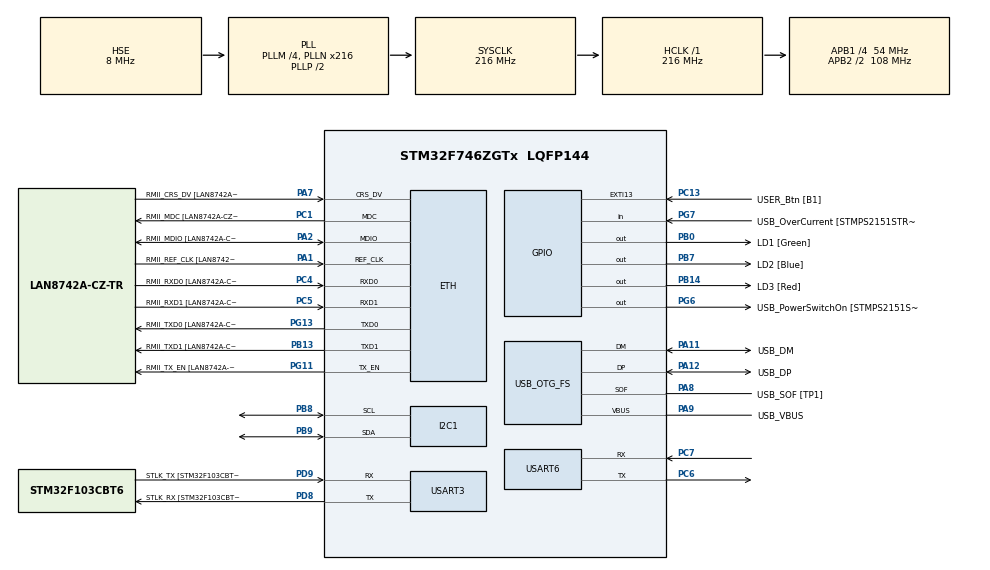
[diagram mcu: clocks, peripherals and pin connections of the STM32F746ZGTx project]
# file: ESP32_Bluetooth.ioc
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ETH.MediaInterface=HAL_ETH_RMII_MODE
ETH.PHY_Name=LAN8742A_PHY_ADDRESS
ETH.PHY_Value=0
ETH.PhyAddress=0
I2C1.Timing=0x20404768
Mcu.Family=STM32F7
Mcu.Name=STM32F746ZGTx
Mcu.Package=LQFP144
NVIC.PriorityGroup=NVIC_PRIORITYGROUP_4
NVIC.USART6_IRQn=true\:0\:0\:false\:false\:true\:true\:true\:true
PA1.GPIO_Label=RMII_REF_CLK [LAN8742A-CZ-TR_REFCLK0]
PA1.Mode=RMII
PA1.Signal=ETH_REF_CLK
PA10.GPIO_Label=USB_ID
PA10.Signal=USB_OTG_FS_ID
PA11.GPIO_Label=USB_DM
PA11.Mode=Device_Only
PA11.Signal=USB_OTG_FS_DM
PA12.GPIO_Label=USB_DP
PA12.Mode=Device_Only
PA12.Signal=USB_OTG_FS_DP
PA13.GPIO_Label=TMS
PA13.Mode=Serial_Wire
PA13.Signal=SYS_JTMS-SWDIO
PA14.GPIO_Label=TCK
PA14.Mode=Serial_Wire
PA14.Signal=SYS_JTCK-SWCLK
PA2.GPIO_Label=RMII_MDIO [LAN8742A-CZ-TR_MDIO]
PA2.Mode=RMII
PA2.Signal=ETH_MDIO
PA7.GPIO_Label=RMII_CRS_DV [LAN8742A-CZ-TR_CRS_DV]
PA7.Mode=RMII
PA7.Signal=ETH_CRS_DV
PA8.GPIO_Label=USB_SOF [TP1]
PA8.Mode=Activate_SOF_FS
PA8.Signal=USB_OTG_FS_SOF
PA9.GPIO_Label=USB_VBUS
PA9.Mode=Activate_VBUS
PA9.Signal=USB_OTG_FS_VBUS
PB0.GPIO_Label=LD1 [Green]
PB0.Signal=GPIO_Output
PB13.GPIO_Label=RMII_TXD1 [LAN8742A-CZ-TR_TXD1]
PB13.Mode=RMII
PB13.Signal=ETH_TXD1
PB14.GPIO_Label=LD3 [Red]
PB14.Signal=GPIO_Output
PB3.GPIO_Label=SW0
PB3.Signal=SYS_JTDO-SWO
PB7.GPIO_Label=LD2 [Blue]
PB7.Signal=GPIO_Output
PB8.Mode=I2C
PB8.Signal=I2C1_SCL
PB9.Mode=I2C
PB9.Signal=I2C1_SDA
PC1.GPIO_Label=RMII_MDC [LAN8742A-CZ-TR_MDC]
PC1.Mode=RMII
PC1.Signal=ETH_MDC
PC13.GPIO_Label=USER_Btn [B1]
PC13.Signal=GPXTI13
PC14/OSC32_IN.Mode=LSE-External-Oscillator
PC14/OSC32_IN.Signal=RCC_OSC32_IN
PC15/OSC32_OUT.Mode=LSE-External-Oscillator
PC15/OSC32_OUT.Signal=RCC_OSC32_OUT
PC4.GPIO_Label=RMII_RXD0 [LAN8742A-CZ-TR_RXD0]
PC4.Mode=RMII
PC4.Signal=ETH_RXD0
PC5.GPIO_Label=RMII_RXD1 [LAN8742A-CZ-TR_RXD1]
PC5.Mode=RMII
PC5.Signal=ETH_RXD1
PC6.Mode=Asynchronous
PC6.Signal=USART6_TX
PC7.Mode=Asynchronous
PC7.Signal=USART6_RX
PD8.GPIO_Label=STLK_RX [STM32F103CBT6_PA3]
PD8.GPIO_PuPd=GPIO_PULLUP
PD8.Mode=Asynchronous
PD8.Signal=USART3_TX
PD9.GPIO_Label=STLK_TX [STM32F103CBT6_PA2]
PD9.GPIO_PuPd=GPIO_PULLUP
PD9.Mode=Asynchronous
PD9.Signal=USART3_RX
PG11.GPIO_Label=RMII_TX_EN [LAN8742A-CZ-TR_TXEN]
PG11.Mode=RMII
PG11.Signal=ETH_TX_EN
PG13.GPIO_Label=RMII_TXD0 [LAN8742A-CZ-TR_TXD0]
PG13.Mode=RMII
PG13.Signal=ETH_TXD0
PG6.GPIO_Label=USB_PowerSwitchOn [STMPS2151STR_EN]
PG6.Signal=GPIO_Output
PG7.GPIO_Label=USB_OverCurrent [STMPS2151STR_FAULT]
PG7.Signal=GPIO_Input
PH0/OSC_IN.GPIO_Label=MCO [STM32F103CBT6_PA8]
PH0/OSC_IN.Mode=HSE-External-Oscillator
PH0/OSC_IN.Signal=RCC_OSC_IN
PH1/OSC_OUT.Mode=HSE-External-Oscillator
PH1/OSC_OUT.Signal=RCC_OSC_OUT
ProjectManager.HeapSize=0x200
ProjectManager.StackSize=0x400
ProjectManager.TargetToolchain=STM32CubeIDE
RCC.48MHZClocksFreq_Value=24000000
RCC.AHBFreq_Value=216000000
RCC.APB1CLKDivider=RCC_HCLK_DIV4
RCC.APB1Freq_Value=54000000
RCC.APB1TimFreq_Value=108000000
RCC.APB2CLKDivider=RCC_HCLK_DIV2
RCC.APB2Freq_Value=108000000
RCC.APB2TimFreq_Value=216000000
RCC.CortexFreq_Value=216000000
RCC.HCLKFreq_Value=216000000
RCC.HSE_VALUE=8000000
RCC.HSI_VALUE=16000000
RCC.PLLM=4
RCC.PLLMUL=RCC_PLL_MUL9
RCC.PLLN=216
RCC.PLLQ=9
RCC.PRESCALERUSB=RCC_USBCLKSOURCE_PLL_DIV1_5
RCC.SYSCLKFreq_VALUE=216000000
RCC.SYSCLKSource=RCC_SYSCLKSOURCE_PLLCLK
RCC.SYSCLKSourceVirtual=RCC_SYSCLKSOURCE_PLLCLK
RCC.USBFreq_Value=48000000
RCC.VCOOutputFreq_Value=432000000
USART3.VirtualMode-Asynchronous=VM_ASYNC
USART6.VirtualMode-Asynchronous=VM_ASYNC
USB_OTG_FS.VirtualMode=Device_Only
board=NUCLEO-F746ZG

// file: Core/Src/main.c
/* USER CODE BEGIN Header */
/**
  ******************************************************************************
  * @file           : main.c
  * @brief          : Main program body
  ******************************************************************************
  * @attention
  *
  * Copyright (c) 2025 STMicroelectronics.
  * All rights reserved.
  *
  * This software is licensed under terms that can be found in the LICENSE file
  * in the root directory of this software component.
  * If no LICENSE file comes with this software, it is provided AS-IS.
  *
  ******************************************************************************
  */
/* USER CODE END Header */
#include "main.h"
#include "string.h"

/* USER CODE BEGIN Includes */
#include <stdio.h>
/* USER CODE END Includes */

/* USER CODE BEGIN PD */
#define ESP_UART huart6         /* STM32 ⟷ ESP32 link  */
#define PC_UART  huart3         /* STM32 ⟷ Hercules    */
//#define BRIDGE_TX_TO_ESP32                       /* also forward PC→ESP */
/* USER CODE END PD */

#if defined ( __ICCARM__ ) /*!< IAR Compiler */
#pragma location=0x2004c000
ETH_DMADescTypeDef  DMARxDscrTab[ETH_RX_DESC_CNT]; /* Ethernet Rx DMA Descriptors */
#pragma location=0x2004c0a0
ETH_DMADescTypeDef  DMATxDscrTab[ETH_TX_DESC_CNT]; /* Ethernet Tx DMA Descriptors */

#elif defined ( __CC_ARM )  /* MDK ARM Compiler */

__attribute__((at(0x2004c000))) ETH_DMADescTypeDef  DMARxDscrTab[ETH_RX_DESC_CNT]; /* Ethernet Rx DMA Descriptors */
__attribute__((at(0x2004c0a0))) ETH_DMADescTypeDef  DMATxDscrTab[ETH_TX_DESC_CNT]; /* Ethernet Tx DMA Descriptors */

#elif defined ( __GNUC__ ) /* GNU Compiler */

ETH_DMADescTypeDef DMARxDscrTab[ETH_RX_DESC_CNT] __attribute__((section(".RxDecripSection"))); /* Ethernet Rx DMA Descriptors */
ETH_DMADescTypeDef DMATxDscrTab[ETH_TX_DESC_CNT] __attribute__((section(".TxDecripSection")));   /* Ethernet Tx DMA Descriptors */
#endif

ETH_TxPacketConfig TxConfig;

ETH_HandleTypeDef heth;

I2C_HandleTypeDef hi2c1;

UART_HandleTypeDef huart3;
UART_HandleTypeDef huart6;

PCD_HandleTypeDef hpcd_USB_OTG_FS;

void SystemClock_Config(void);
static void MX_GPIO_Init(void);
static void MX_ETH_Init(void);
static void MX_I2C1_Init(void);
static void MX_USART3_UART_Init(void);
static void MX_USB_OTG_FS_PCD_Init(void);
static void MX_USART6_UART_Init(void);

/* USER CODE BEGIN 0 */
// Function to send AT command to ESP32 via UART6
HAL_StatusTypeDef ESP_SendCmd(const char *cmd, uint32_t timeout)
{

	    // 2) Echo the exact command we’re about to send to the PC (so you can see it)
	    HAL_UART_Transmit(&huart3, (uint8_t*)cmd, strlen(cmd), HAL_MAX_DELAY);

	    // 3) Send the AT command over UART6 to the ESP32
	    HAL_UART_Transmit(&huart6, (uint8_t*)cmd, strlen(cmd), HAL_MAX_DELAY);

	    // 4) Now collect *all* bytes the ESP32 replies with (up to `timeout`) into a buffer
	    uint32_t start = HAL_GetTick();
	    uint8_t  respBuf[256];
	    size_t   rlen = 0;

	    while ((HAL_GetTick() - start) < timeout && rlen < sizeof(respBuf)-1) {
	        uint8_t c;
	        // give each byte up to 20 ms to arrive
	        if (HAL_UART_Receive(&huart6, &c, 1, 20) == HAL_OK) {
	            respBuf[rlen++] = c;
	            start = HAL_GetTick();  // reset our timeout on each new byte
	        }
	    }
	    respBuf[rlen] = '\0';

	    // 5) Dump the *entire* response back to the PC in one go
	    if (rlen) {
	        HAL_UART_Transmit(&huart3, respBuf, rlen, HAL_MAX_DELAY);
	    }
	    return HAL_OK;
}

// Function to read response from ESP32
void ESP_ReadResponse(void)
{
    uint8_t rx_buf[256] = {0};
    HAL_UART_Receive(&huart6, rx_buf, sizeof(rx_buf), 1000);
    HAL_UART_Transmit(&huart3, rx_buf, strlen((char *)rx_buf), 1000);
}

// Connects ESP32 Bluetooth to a device with given MAC address
void ESP_BT_ConnectToDevice(const char* mac_address)
{
    char cmd[64];
    snprintf(cmd, sizeof(cmd), "AT+BTSPPCONN=%s\r\n", mac_address);
    ESP_SendCmd(cmd,1000);
    HAL_Delay(1000);
    ESP_ReadResponse();
}

// ESP32 Bluetooth scan Start
void ESP_BT_StartScan(void)
{
    ESP_SendCmd("AT+BTSCAN=1,5\r\n", 3000);  // 1 = Inquiry scan, 1 = enable
    ESP_ReadResponse(); // Return Scan Results
}

// Initializes Bluetooth module through ESP32 AT commands
void ESP32_Bluetooth_Init(void)
{

	// 1) Basic AT check
	    ESP_SendCmd("AT\r\n",  500);
	    ESP_ReadResponse();

	    /*ESP_SendCmd("AT+RST\r\n", 1000);
	    ESP_ReadResponse();

	    ESP_SendCmd("AT+GMR\r\n",  5000);
	    ESP_ReadResponse();*/
	    // 2) Init BT stack

    	ESP_SendCmd("AT+BTINIT=1\r\n", 500);
    	ESP_ReadResponse();

	    ESP_SendCmd("AT+BTINIT?\r\n", 500);
	    ESP_ReadResponse();

	    //Spp Config
	    ESP_SendCmd("AT+BTSPPINIT?\r\n", 500);
	    ESP_ReadResponse();

	    ESP_SendCmd("AT+BTSPPINIT=1\r\n", 500);
	    ESP_ReadResponse();

	    // 3) Give it a friendly name
	    ESP_SendCmd("AT+BTNAME=\"ESP32_Bluetooth\"\r\n", 500);
	    ESP_ReadResponse();

	    // 3) AT+BTSCANMODE: Set Classic Bluetooth Scan Mode
	   	ESP_SendCmd("AT+BTSCANMODE=2\r\n", 500);
	   	ESP_ReadResponse();

	   	/*
		ESP_SendCmd("AT+BTSTARTDISC=0,10,5\r\n", 1000);
		ESP_ReadResponse();*/

										// Write your mac ID
	    ESP_SendCmd("AT+BTSPPCONN=0,0,\"00:00:00:00:00:00\"\r\n",3000);
	    ESP_ReadResponse();

	    //4) Configure a classic-SPP service (use the standard SPP UUID)
	    //This returns something like: +BTSPPCFG:1

		ESP_SendCmd("AT+BTSPPCONN?\r\n", 2000);
	    ESP_ReadResponse();

	    ESP_SendCmd("AT+BTSPPSTART\r\n", 2000);
	    ESP_ReadResponse();

	    /*// 5) Start the SPP server on that service ID (1) and enable pairing
	    ESP_SendCmd("AT+BTSPPSRV=1\r\n", 500);
	   	ESP_ReadResponse();*/

}

void ESP_SetBaudRate_115200(void)
{
    ESP_SendCmd("AT+UART_DEF=115200,8,1,0,0\r\n", 1000);
    ESP_ReadResponse();
}

/*
// Connects ESP32 Bluetooth to a device with given MAC address
void ESP_BT_ConnectToDevice(const char* mac_address)
{
    char cmd[64];
    snprintf(cmd, sizeof(cmd), "AT+BTSPPCONN=%s", mac_address);
    ESP_SendCommand(cmd);
    HAL_Delay(1000);
    ESP_ReadResponse();
}
*/
/* USER CODE END 0 */

int main(void)
{

  /* MCU Configuration--------------------------------------------------------*/

  /* Reset of all peripherals, Initializes the Flash interface and the Systick. */
  HAL_Init();

  /* Configure the system clock */
  SystemClock_Config();

  /* Initialize all configured peripherals */
  MX_GPIO_Init();
  MX_ETH_Init();
  MX_I2C1_Init();
  MX_USART3_UART_Init();
  MX_USB_OTG_FS_PCD_Init();
  MX_USART6_UART_Init();
  /* USER CODE BEGIN 2 */

  //ESP_SetBaudRate_115200();

  // Initialize Bluetooth over UART6 (ESP32 AT commands)
  ESP32_Bluetooth_Init();

  // Cihazları tara
  ESP_BT_StartScan();

  // Later you can add connection command with AT+BTSPPCONN=MAC  ESP_BT_ConnectToDevice("00:11:22:33:44:55");

  /* USER CODE END 2 */

  /* Infinite loop */
  while (1)
  {

    /* USER CODE BEGIN 3 */

	  // send 5 bytes over the connected SPP link ID (always 0 for one client)
	  ESP_SendCmd("\nAT+BTSPPSEND=1,5\r\n", 500);
	  HAL_Delay(100);
	  HAL_UART_Transmit(&huart6, (uint8_t*)"HELLO", 5, HAL_MAX_DELAY);
	  ESP_ReadResponse();
	     HAL_Delay(1500);

  }
  /* USER CODE END 3 */
}

void SystemClock_Config(void)
{
  RCC_OscInitTypeDef RCC_OscInitStruct = {0};
  RCC_ClkInitTypeDef RCC_ClkInitStruct = {0};

  /** Configure LSE Drive Capability
  */
  HAL_PWR_EnableBkUpAccess();

  /** Configure the main internal regulator output voltage
  */
  __HAL_RCC_PWR_CLK_ENABLE();
  __HAL_PWR_VOLTAGESCALING_CONFIG(PWR_REGULATOR_VOLTAGE_SCALE1);

  /** Initializes the RCC Oscillators according to the specified parameters
  * in the RCC_OscInitTypeDef structure.
  */
  RCC_OscInitStruct.OscillatorType = RCC_OSCILLATORTYPE_HSE;
  RCC_OscInitStruct.HSEState = RCC_HSE_ON;
  RCC_OscInitStruct.PLL.PLLState = RCC_PLL_ON;
  RCC_OscInitStruct.PLL.PLLSource = RCC_PLLSOURCE_HSE;
  RCC_OscInitStruct.PLL.PLLM = 4;
  RCC_OscInitStruct.PLL.PLLN = 216;
  RCC_OscInitStruct.PLL.PLLP = RCC_PLLP_DIV2;
  RCC_OscInitStruct.PLL.PLLQ = 9;
  if (HAL_RCC_OscConfig(&RCC_OscInitStruct) != HAL_OK)
  {
    Error_Handler();
  }

  /** Activate the Over-Drive mode
  */
  if (HAL_PWREx_EnableOverDrive() != HAL_OK)
  {
    Error_Handler();
  }

  /** Initializes the CPU, AHB and APB buses clocks
  */
  RCC_ClkInitStruct.ClockType = RCC_CLOCKTYPE_HCLK|RCC_CLOCKTYPE_SYSCLK
                              |RCC_CLOCKTYPE_PCLK1|RCC_CLOCKTYPE_PCLK2;
  RCC_ClkInitStruct.SYSCLKSource = RCC_SYSCLKSOURCE_PLLCLK;
  RCC_ClkInitStruct.AHBCLKDivider = RCC_SYSCLK_DIV1;
  RCC_ClkInitStruct.APB1CLKDivider = RCC_HCLK_DIV4;
  RCC_ClkInitStruct.APB2CLKDivider = RCC_HCLK_DIV2;

  if (HAL_RCC_ClockConfig(&RCC_ClkInitStruct, FLASH_LATENCY_7) != HAL_OK)
  {
    Error_Handler();
  }
}

static void MX_ETH_Init(void)
{

   static uint8_t MACAddr[6];

  heth.Instance = ETH;
  MACAddr[0] = 0x00;
  MACAddr[1] = 0x80;
  MACAddr[2] = 0xE1;
  MACAddr[3] = 0x00;
  MACAddr[4] = 0x00;
  MACAddr[5] = 0x00;
  heth.Init.MACAddr = &MACAddr[0];
  heth.Init.MediaInterface = HAL_ETH_RMII_MODE;
  heth.Init.TxDesc = DMATxDscrTab;
  heth.Init.RxDesc = DMARxDscrTab;
  heth.Init.RxBuffLen = 1524;

  if (HAL_ETH_Init(&heth) != HAL_OK)
  {
    Error_Handler();
  }

  memset(&TxConfig, 0 , sizeof(ETH_TxPacketConfig));
  TxConfig.Attributes = ETH_TX_PACKETS_FEATURES_CSUM | ETH_TX_PACKETS_FEATURES_CRCPAD;
  TxConfig.ChecksumCtrl = ETH_CHECKSUM_IPHDR_PAYLOAD_INSERT_PHDR_CALC;
  TxConfig.CRCPadCtrl = ETH_CRC_PAD_INSERT;

}

static void MX_I2C1_Init(void)
{

  hi2c1.Instance = I2C1;
  hi2c1.Init.Timing = 0x20404768;
  hi2c1.Init.OwnAddress1 = 0;
  hi2c1.Init.AddressingMode = I2C_ADDRESSINGMODE_7BIT;
  hi2c1.Init.DualAddressMode = I2C_DUALADDRESS_DISABLE;
  hi2c1.Init.OwnAddress2 = 0;
  hi2c1.Init.OwnAddress2Masks = I2C_OA2_NOMASK;
  hi2c1.Init.GeneralCallMode = I2C_GENERALCALL_DISABLE;
  hi2c1.Init.NoStretchMode = I2C_NOSTRETCH_DISABLE;
  if (HAL_I2C_Init(&hi2c1) != HAL_OK)
  {
    Error_Handler();
  }

  /** Configure Analogue filter
  */
  if (HAL_I2CEx_ConfigAnalogFilter(&hi2c1, I2C_ANALOGFILTER_ENABLE) != HAL_OK)
  {
    Error_Handler();
  }

  /** Configure Digital filter
  */
  if (HAL_I2CEx_ConfigDigitalFilter(&hi2c1, 0) != HAL_OK)
  {
    Error_Handler();
  }

}

static void MX_USART3_UART_Init(void)
{

  huart3.Instance = USART3;
  huart3.Init.BaudRate = 115200;
  huart3.Init.WordLength = UART_WORDLENGTH_8B;
  huart3.Init.StopBits = UART_STOPBITS_1;
  huart3.Init.Parity = UART_PARITY_NONE;
  huart3.Init.Mode = UART_MODE_TX_RX;
  huart3.Init.HwFlowCtl = UART_HWCONTROL_NONE;
  huart3.Init.OverSampling = UART_OVERSAMPLING_16;
  huart3.Init.OneBitSampling = UART_ONE_BIT_SAMPLE_DISABLE;
  huart3.AdvancedInit.AdvFeatureInit = UART_ADVFEATURE_NO_INIT;
  if (HAL_UART_Init(&huart3) != HAL_OK)
  {
    Error_Handler();
  }

}

static void MX_USART6_UART_Init(void)
{

  huart6.Instance = USART6;
  huart6.Init.BaudRate = 115200;
  huart6.Init.WordLength = UART_WORDLENGTH_8B;
  huart6.Init.StopBits = UART_STOPBITS_1;
  huart6.Init.Parity = UART_PARITY_NONE;
  huart6.Init.Mode = UART_MODE_TX_RX;
  huart6.Init.HwFlowCtl = UART_HWCONTROL_NONE;
  huart6.Init.OverSampling = UART_OVERSAMPLING_16;
  huart6.Init.OneBitSampling = UART_ONE_BIT_SAMPLE_DISABLE;
  huart6.AdvancedInit.AdvFeatureInit = UART_ADVFEATURE_NO_INIT;
  if (HAL_UART_Init(&huart6) != HAL_OK)
  {
    Error_Handler();
  }

}

static void MX_USB_OTG_FS_PCD_Init(void)
{

  hpcd_USB_OTG_FS.Instance = USB_OTG_FS;
  hpcd_USB_OTG_FS.Init.dev_endpoints = 6;
  hpcd_USB_OTG_FS.Init.speed = PCD_SPEED_FULL;
  hpcd_USB_OTG_FS.Init.dma_enable = DISABLE;
  hpcd_USB_OTG_FS.Init.phy_itface = PCD_PHY_EMBEDDED;
  hpcd_USB_OTG_FS.Init.Sof_enable = ENABLE;
  hpcd_USB_OTG_FS.Init.low_power_enable = DISABLE;
  hpcd_USB_OTG_FS.Init.lpm_enable = DISABLE;
  hpcd_USB_OTG_FS.Init.vbus_sensing_enable = ENABLE;
  hpcd_USB_OTG_FS.Init.use_dedicated_ep1 = DISABLE;
  if (HAL_PCD_Init(&hpcd_USB_OTG_FS) != HAL_OK)
  {
    Error_Handler();
  }

}

static void MX_GPIO_Init(void)
{
  GPIO_InitTypeDef GPIO_InitStruct = {0};

  /* GPIO Ports Clock Enable */
  __HAL_RCC_GPIOC_CLK_ENABLE();
  __HAL_RCC_GPIOH_CLK_ENABLE();
  __HAL_RCC_GPIOA_CLK_ENABLE();
  __HAL_RCC_GPIOB_CLK_ENABLE();
  __HAL_RCC_GPIOD_CLK_ENABLE();
  __HAL_RCC_GPIOG_CLK_ENABLE();

  /*Configure GPIO pin Output Level */
  HAL_GPIO_WritePin(GPIOB, LD1_Pin|LD3_Pin|LD2_Pin, GPIO_PIN_RESET);

  /*Configure GPIO pin Output Level */
  HAL_GPIO_WritePin(USB_PowerSwitchOn_GPIO_Port, USB_PowerSwitchOn_Pin, GPIO_PIN_RESET);

  /*Configure GPIO pin : USER_Btn_Pin */
  GPIO_InitStruct.Pin = USER_Btn_Pin;
  GPIO_InitStruct.Mode = GPIO_MODE_IT_RISING;
  GPIO_InitStruct.Pull = GPIO_NOPULL;
  HAL_GPIO_Init(USER_Btn_GPIO_Port, &GPIO_InitStruct);

  /*Configure GPIO pins : LD1_Pin LD3_Pin LD2_Pin */
  GPIO_InitStruct.Pin = LD1_Pin|LD3_Pin|LD2_Pin;
  GPIO_InitStruct.Mode = GPIO_MODE_OUTPUT_PP;
  GPIO_InitStruct.Pull = GPIO_NOPULL;
  GPIO_InitStruct.Speed = GPIO_SPEED_FREQ_LOW;
  HAL_GPIO_Init(GPIOB, &GPIO_InitStruct);

  /*Configure GPIO pin : USB_PowerSwitchOn_Pin */
  GPIO_InitStruct.Pin = USB_PowerSwitchOn_Pin;
  GPIO_InitStruct.Mode = GPIO_MODE_OUTPUT_PP;
  GPIO_InitStruct.Pull = GPIO_NOPULL;
  GPIO_InitStruct.Speed = GPIO_SPEED_FREQ_LOW;
  HAL_GPIO_Init(USB_PowerSwitchOn_GPIO_Port, &GPIO_InitStruct);

  /*Configure GPIO pin : USB_OverCurrent_Pin */
  GPIO_InitStruct.Pin = USB_OverCurrent_Pin;
  GPIO_InitStruct.Mode = GPIO_MODE_INPUT;
  GPIO_InitStruct.Pull = GPIO_NOPULL;
  HAL_GPIO_Init(USB_OverCurrent_GPIO_Port, &GPIO_InitStruct);

}

void Error_Handler(void)
{
  __disable_irq();
  while (1)
  {
  }
}
